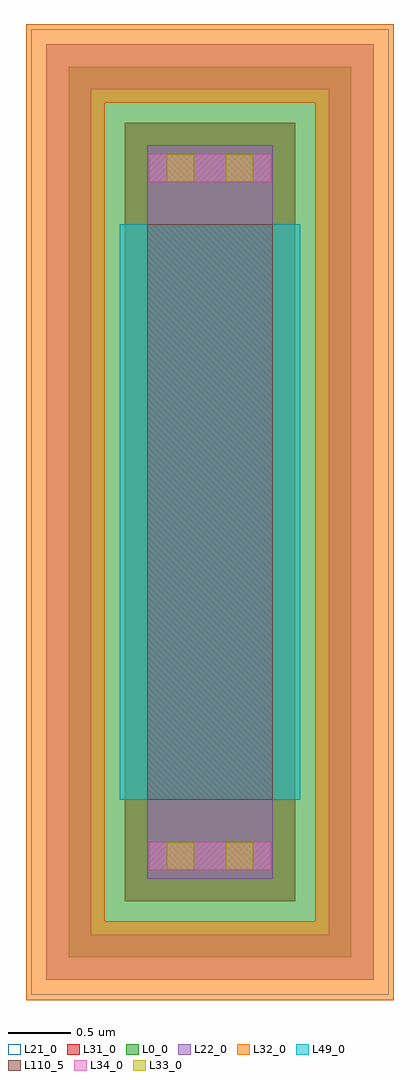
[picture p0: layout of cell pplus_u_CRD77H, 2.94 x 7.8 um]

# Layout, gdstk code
import gdstk
lib = gdstk.Library(unit=1e-6, precision=1e-09)
def R(c, l, rs):  # rectangles x0, y0, x1, y1
    for r in rs: c.add(gdstk.rectangle(r[:2], r[2:], *l))
L0_0 = (0, 0)
L21_0 = (21, 0)
L22_0 = (22, 0)
L31_0 = (31, 0)
L32_0 = (32, 0)
L33_0 = (33, 0)
L34_0 = (34, 0)
L49_0 = (49, 0)
L110_5 = (110, 5)

pplus_u_crd77h = lib.new_cell('pplus_u_CRD77H')
R(pplus_u_crd77h, L0_0, [(-1.13,-3.56,1.13,3.56)])
R(pplus_u_crd77h, L21_0, [(-1.43,-3.86,1.43,3.86)])
R(pplus_u_crd77h, L22_0, [(-1.31,-3.74,1.31,-3.38), (-1.31,-3.38,-0.95,3.38), (0.95,-3.38,1.31,3.38), (-0.5,-2.93,0.5,2.93), (-1.31,3.38,1.31,3.74)])
R(pplus_u_crd77h, L31_0, [(-0.68,-3.11,0.68,3.11), (-0.66,-3.09,0.66,3.09)])
R(pplus_u_crd77h, L32_0, [(-1.47,-3.9,1.47,-3.27), (-1.47,-3.27,-0.84,3.27), (0.84,-3.27,1.47,3.27), (-1.47,3.27,1.47,3.9)])
R(pplus_u_crd77h, L33_0, [(-0.345,-2.86,-0.125,-2.64), (0.125,-2.86,0.345,-2.64), (-0.345,2.64,-0.125,2.86), (0.125,2.64,0.345,2.86)])
R(pplus_u_crd77h, L34_0, [(-0.49,-2.865,0.49,-2.635), (-0.49,2.635,0.49,2.865)])
R(pplus_u_crd77h, L49_0, [(-0.72,-2.3,0.72,2.3)])
R(pplus_u_crd77h, L110_5, [(-0.5,-2.3,0.5,2.3)])

lib.write_gds('pplus_u_CRD77H.gds')
